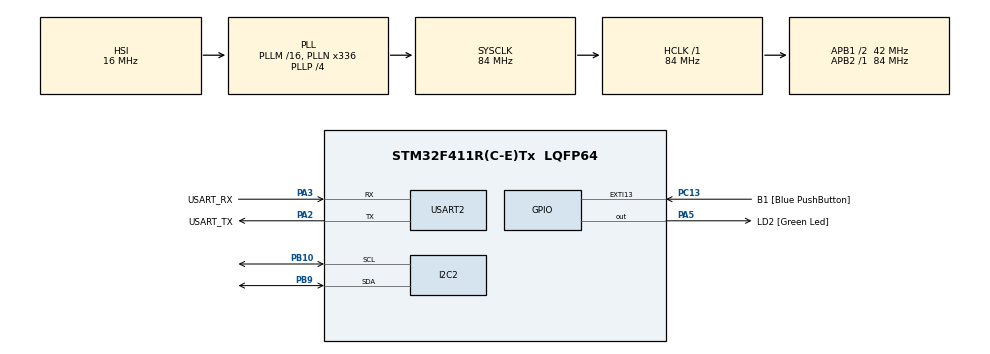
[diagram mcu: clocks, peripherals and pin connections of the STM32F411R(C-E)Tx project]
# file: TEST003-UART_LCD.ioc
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Mcu.Family=STM32F4
Mcu.Name=STM32F411R(C-E)Tx
Mcu.Package=LQFP64
NVIC.PriorityGroup=NVIC_PRIORITYGROUP_0
PA13.GPIO_Label=TMS
PA13.Mode=Serial_Wire
PA13.Signal=SYS_JTMS-SWDIO
PA14.GPIO_Label=TCK
PA14.Mode=Serial_Wire
PA14.Signal=SYS_JTCK-SWCLK
PA2.GPIO_Label=USART_TX
PA2.Mode=Asynchronous
PA2.Signal=USART2_TX
PA3.GPIO_Label=USART_RX
PA3.Mode=Asynchronous
PA3.Signal=USART2_RX
PA5.GPIO_Label=LD2 [Green Led]
PA5.Signal=GPIO_Output
PB10.Mode=I2C
PB10.Signal=I2C2_SCL
PB3.GPIO_Label=SWO
PB3.Signal=SYS_JTDO-SWO
PB9.Mode=I2C
PB9.Signal=I2C2_SDA
PC13-ANTI_TAMP.GPIO_Label=B1 [Blue PushButton]
PC13-ANTI_TAMP.GPIO_ModeDefaultEXTI=GPIO_MODE_IT_FALLING
PC13-ANTI_TAMP.Signal=GPXTI13
PC14-OSC32_IN.Mode=LSE-External-Oscillator
PC14-OSC32_IN.Signal=RCC_OSC32_IN
PC15-OSC32_OUT.Mode=LSE-External-Oscillator
PC15-OSC32_OUT.Signal=RCC_OSC32_OUT
PH0\ -\ OSC_IN.Mode=HSE-External-Clock-Source
PH0\ -\ OSC_IN.Signal=RCC_OSC_IN
PH1\ -\ OSC_OUT.Mode=HSE-External-Clock-Source
PH1\ -\ OSC_OUT.Signal=RCC_OSC_OUT
ProjectManager.HeapSize=0x200
ProjectManager.StackSize=0x400
ProjectManager.TargetToolchain=STM32CubeIDE
RCC.48MHZClocksFreq_Value=84000000
RCC.AHBFreq_Value=84000000
RCC.APB1CLKDivider=RCC_HCLK_DIV2
RCC.APB1Freq_Value=42000000
RCC.APB1TimFreq_Value=84000000
RCC.APB2Freq_Value=84000000
RCC.APB2TimFreq_Value=84000000
RCC.CortexFreq_Value=84000000
RCC.FLatency-AdvancedSettings=FLASH_LATENCY_2
RCC.HCLKFreq_Value=84000000
RCC.HSE_VALUE=8000000
RCC.HSI_VALUE=16000000
RCC.PLLN=336
RCC.PLLP=RCC_PLLP_DIV4
RCC.SYSCLKFreq_VALUE=84000000
RCC.SYSCLKSource=RCC_SYSCLKSOURCE_PLLCLK
RCC.VCOOutputFreq_Value=336000000
USART2.VirtualMode=VM_ASYNC
board=NUCLEO-F411RE

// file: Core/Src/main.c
/* USER CODE BEGIN Header */
/**
  ******************************************************************************
  * @file           : main.c
  * @brief          : Main program body
  ******************************************************************************
  * @attention
  *
  * Copyright (c) 2024 STMicroelectronics.
  * All rights reserved.
  *
  * This software is licensed under terms that can be found in the LICENSE file
  * in the root directory of this software component.
  * If no LICENSE file comes with this software, it is provided AS-IS.
  *
  ******************************************************************************
  */
/* USER CODE END Header */
#include "main.h"

/* USER CODE BEGIN Includes */
#include <stdio.h>
/* USER CODE END Includes */

I2C_HandleTypeDef hi2c2;

UART_HandleTypeDef huart2;

void SystemClock_Config(void);
static void MX_GPIO_Init(void);
static void MX_USART2_UART_Init(void);
static void MX_I2C2_Init(void);

int main(void)
{

  /* MCU Configuration--------------------------------------------------------*/

  /* Reset of all peripherals, Initializes the Flash interface and the Systick. */
  HAL_Init();

  /* Configure the system clock */
  SystemClock_Config();

  /* Initialize all configured peripherals */
  MX_GPIO_Init();
  MX_USART2_UART_Init();
  MX_I2C2_Init();
  /* USER CODE BEGIN 2 */
  ProgramStart("Scrolling");

  i2c_init(&hi2c2);
  i2c_scan();
  lcd_init();

  char buf[100];
  int n;
  int val;
  /* USER CODE END 2 */

  /* Infinite loop */
  /* USER CODE BEGIN WHILE */
  while (1)
  {
	    printf("Input test number : ");
		//printf("\033[%dA",1);
		setvbuf(stdin, NULL, _IONBF, 0);
		scanf("%d", &val);
		printf("Input number : %d\r\n", val);

		if(n==0)
		{
			sprintf(buf, "first:%-10d", val);
			lcd_printEx(buf,n);
			HAL_Delay(10);
			n=1;
		}
		else if(n==1)
		{
			sprintf(buf, "second:%-10d", val);
			lcd_printEx(buf,n);
			HAL_Delay(10);
			n=0;
		}

		//double a = count++ / 3.14;
		//printf("UART Test ....%6.2f\r\n",a);
		HAL_Delay(500);
    /* USER CODE END WHILE */

  }
}

void SystemClock_Config(void)
{
  RCC_OscInitTypeDef RCC_OscInitStruct = {0};
  RCC_ClkInitTypeDef RCC_ClkInitStruct = {0};

  /** Configure the main internal regulator output voltage
  */
  __HAL_RCC_PWR_CLK_ENABLE();
  __HAL_PWR_VOLTAGESCALING_CONFIG(PWR_REGULATOR_VOLTAGE_SCALE1);

  /** Initializes the RCC Oscillators according to the specified parameters
  * in the RCC_OscInitTypeDef structure.
  */
  RCC_OscInitStruct.OscillatorType = RCC_OSCILLATORTYPE_HSI;
  RCC_OscInitStruct.HSIState = RCC_HSI_ON;
  RCC_OscInitStruct.HSICalibrationValue = RCC_HSICALIBRATION_DEFAULT;
  RCC_OscInitStruct.PLL.PLLState = RCC_PLL_ON;
  RCC_OscInitStruct.PLL.PLLSource = RCC_PLLSOURCE_HSI;
  RCC_OscInitStruct.PLL.PLLM = 16;
  RCC_OscInitStruct.PLL.PLLN = 336;
  RCC_OscInitStruct.PLL.PLLP = RCC_PLLP_DIV4;
  RCC_OscInitStruct.PLL.PLLQ = 4;
  if (HAL_RCC_OscConfig(&RCC_OscInitStruct) != HAL_OK)
  {
    Error_Handler();
  }

  /** Initializes the CPU, AHB and APB buses clocks
  */
  RCC_ClkInitStruct.ClockType = RCC_CLOCKTYPE_HCLK|RCC_CLOCKTYPE_SYSCLK
                              |RCC_CLOCKTYPE_PCLK1|RCC_CLOCKTYPE_PCLK2;
  RCC_ClkInitStruct.SYSCLKSource = RCC_SYSCLKSOURCE_PLLCLK;
  RCC_ClkInitStruct.AHBCLKDivider = RCC_SYSCLK_DIV1;
  RCC_ClkInitStruct.APB1CLKDivider = RCC_HCLK_DIV2;
  RCC_ClkInitStruct.APB2CLKDivider = RCC_HCLK_DIV1;

  if (HAL_RCC_ClockConfig(&RCC_ClkInitStruct, FLASH_LATENCY_2) != HAL_OK)
  {
    Error_Handler();
  }
}

static void MX_I2C2_Init(void)
{

  hi2c2.Instance = I2C2;
  hi2c2.Init.ClockSpeed = 100000;
  hi2c2.Init.DutyCycle = I2C_DUTYCYCLE_2;
  hi2c2.Init.OwnAddress1 = 0;
  hi2c2.Init.AddressingMode = I2C_ADDRESSINGMODE_7BIT;
  hi2c2.Init.DualAddressMode = I2C_DUALADDRESS_DISABLE;
  hi2c2.Init.OwnAddress2 = 0;
  hi2c2.Init.GeneralCallMode = I2C_GENERALCALL_DISABLE;
  hi2c2.Init.NoStretchMode = I2C_NOSTRETCH_DISABLE;
  if (HAL_I2C_Init(&hi2c2) != HAL_OK)
  {
    Error_Handler();
  }

}

static void MX_USART2_UART_Init(void)
{

  huart2.Instance = USART2;
  huart2.Init.BaudRate = 115200;
  huart2.Init.WordLength = UART_WORDLENGTH_8B;
  huart2.Init.StopBits = UART_STOPBITS_1;
  huart2.Init.Parity = UART_PARITY_NONE;
  huart2.Init.Mode = UART_MODE_TX_RX;
  huart2.Init.HwFlowCtl = UART_HWCONTROL_NONE;
  huart2.Init.OverSampling = UART_OVERSAMPLING_16;
  if (HAL_UART_Init(&huart2) != HAL_OK)
  {
    Error_Handler();
  }

}

static void MX_GPIO_Init(void)
{
  GPIO_InitTypeDef GPIO_InitStruct = {0};

  /* GPIO Ports Clock Enable */
  __HAL_RCC_GPIOC_CLK_ENABLE();
  __HAL_RCC_GPIOH_CLK_ENABLE();
  __HAL_RCC_GPIOA_CLK_ENABLE();
  __HAL_RCC_GPIOB_CLK_ENABLE();

  /*Configure GPIO pin Output Level */
  HAL_GPIO_WritePin(LD2_GPIO_Port, LD2_Pin, GPIO_PIN_RESET);

  /*Configure GPIO pin : B1_Pin */
  GPIO_InitStruct.Pin = B1_Pin;
  GPIO_InitStruct.Mode = GPIO_MODE_IT_FALLING;
  GPIO_InitStruct.Pull = GPIO_NOPULL;
  HAL_GPIO_Init(B1_GPIO_Port, &GPIO_InitStruct);

  /*Configure GPIO pin : LD2_Pin */
  GPIO_InitStruct.Pin = LD2_Pin;
  GPIO_InitStruct.Mode = GPIO_MODE_OUTPUT_PP;
  GPIO_InitStruct.Pull = GPIO_NOPULL;
  GPIO_InitStruct.Speed = GPIO_SPEED_FREQ_LOW;
  HAL_GPIO_Init(LD2_GPIO_Port, &GPIO_InitStruct);

}

void Error_Handler(void)
{
  __disable_irq();
  while (1)
  {
  }
}
